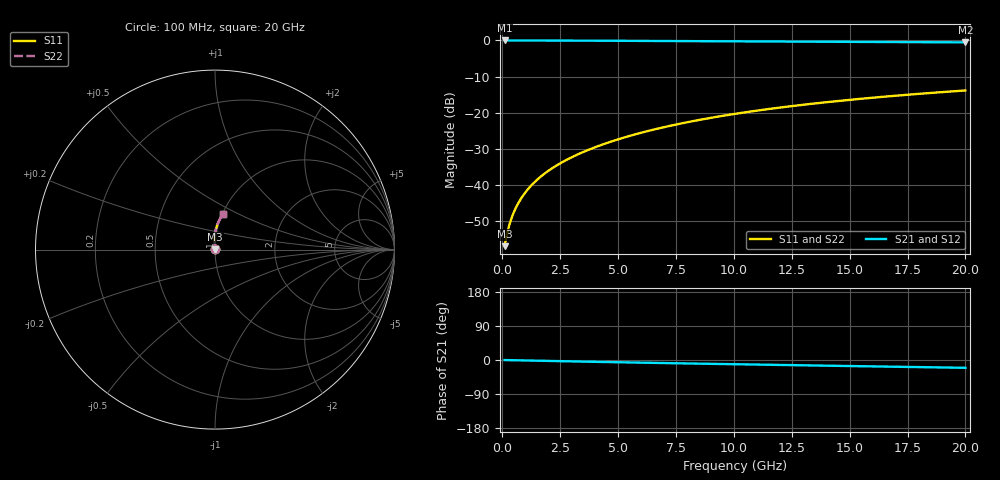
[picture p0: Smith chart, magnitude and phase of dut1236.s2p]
! Touchstone file exported from HFSS 2024.1.0
!  File:  C:/UserFiles/LocalFiles/RDL_TSV_Batchsim/temp_RDL_bottom_1236_1780244771.aedt
!  Generated:  12:28:34 AM Jun  1, 2026
!  Design:  RDL_bottom
!  Project:  temp_RDL_bottom_1236_1780244771
!  Setup:  Setup1
!  Solution:  Sweep
! Variables:
!  dtsv = 10.80580581um
!  hbump = 3um
!  htsv = 94.07um
!  ldown = 261.4um
!  lrdl = 100um
!  p = 40
!  p1 = 58.44um
!  rhole = 1um
!  t = 450um
!  tdown = 3.62um
!  trdl = 3.915915916um
!  wdown = 29.61um
!  wrdl = 20um
# GHz S MA R 50.000000
! Terminal data exported
! Port[1] = RDL1_T1
! Port[2] = RDL1_T2
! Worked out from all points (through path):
!   200 points, 100 MHz to 20 GHz, reference 50 ohm
!   highest |S21| = -0.01 dB at 100 MHz (marker M1); lowest = -0.5 dB at 20 GHz (marker M2)
!   group delay of S21, straight-line fit = 2.82 ps
!   lowest |S11| = -57.0 dB at 100 MHz (marker M3), VSWR 1.00, Z = 50.1 + j0.0875 ohm
!   |S11| at or under -10 dB: start of sweep to end of sweep
!   |S22| runs from -57.0 to -13.9 dB; largest |S21 - S12| = 3.2e-15
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0.1  0.001416 38.1  0.9989 -0.1  0.9989 -0.1  0.001416 38.1
! Gamma 0 0 0 0
! Port Impedance 50 0 50 0
0.2  0.002066 55.1  0.9988 -0.3  0.9988 -0.3  0.002066 55.1
0.3  0.002764 63.4  0.9987 -0.4  0.9987 -0.4  0.002764 63.4
0.4  0.003472 68.6  0.9986 -0.5  0.9986 -0.5  0.003472 68.6
0.5  0.004187 72.2  0.9985 -0.6  0.9985 -0.6  0.004187 72.2
0.6  0.004911 75.0  0.9984 -0.8  0.9984 -0.8  0.004911 75.0
0.8  0.006385 78.9  0.9982 -1.0  0.9982 -1.0  0.006385 78.9
1.1  0.008648 82.6  0.9979 -1.4  0.9979 -1.4  0.008648 82.6
1.5  0.01174 85.6  0.9974 -1.9  0.9974 -1.9  0.01174 85.6
1.8  0.01412 87.2  0.9969 -2.2  0.9969 -2.2  0.01412 87.2
2.1  0.01655 88.4  0.9963 -2.6  0.9963 -2.6  0.01655 88.4
2.7  0.02155 90.2  0.9949 -3.3  0.9949 -3.3  0.02155 90.2
3.5  0.02855 91.7  0.9928 -4.3  0.9928 -4.3  0.02855 91.7
4.2  0.03498 92.4  0.9906 -5.1  0.9906 -5.1  0.03498 92.4
5  0.04266 92.8  0.9879 -6.0  0.9879 -6.0  0.04267 92.8
6.8  0.06101 92.4  0.9816 -7.9  0.9816 -7.9  0.06101 92.4
8.4  0.07813 91.1  0.9761 -9.5  0.9761 -9.5  0.07814 91.1
10.1  0.09673 89.3  0.9704 -11.2  0.9704 -11.2  0.09674 89.3
11.7  0.1143 87.4  0.9652 -12.8  0.9652 -12.8  0.1144 87.4
13.4  0.133 85.3  0.9599 -14.4  0.9599 -14.4  0.133 85.4
16.7  0.1685 81.3  0.95 -17.5  0.95 -17.5  0.1685 81.3
20  0.2028 77.4  0.9401 -20.6  0.9401 -20.6  0.2028 77.4
